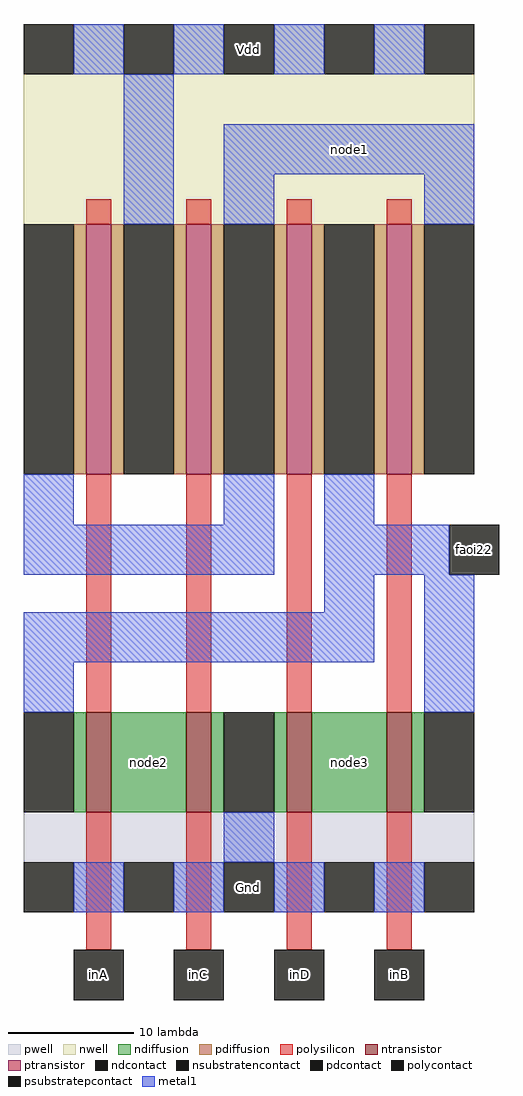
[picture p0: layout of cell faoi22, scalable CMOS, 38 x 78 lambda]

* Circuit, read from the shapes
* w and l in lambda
.subckt faoi22 Gnd Vdd inA inB inC inD node1 node2 node3
M1 node2 inA n1 Gnd nfet w=8 l=2
M2 Gnd inC node2 Gnd nfet w=8 l=2
M3 node3 inD Gnd Gnd nfet w=8 l=2
M4 n1 inB node3 Gnd nfet w=8 l=2
M5 Vdd inA node1 Vdd pfet w=20 l=2
M6 node1 inC Vdd Vdd pfet w=20 l=2
M7 n1 inD node1 Vdd pfet w=20 l=2
M8 node1 inB n1 Vdd pfet w=20 l=2
.ends

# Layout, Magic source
magic
tech scmos
<< pwell >>
rect -12 -43 24 -27
<< nwell >>
rect -12 -8 24 28
<< polysilicon >>
rect -7 12 -5 14
rect 1 12 3 14
rect 9 12 11 14
rect 17 12 19 14
rect -7 -27 -5 -8
rect 1 -27 3 -8
rect 9 -27 11 -8
rect 17 -27 19 -8
rect -7 -46 -5 -35
rect 1 -46 3 -35
rect 9 -46 11 -35
rect 17 -46 19 -35
<< ndiffusion >>
rect -8 -35 -7 -27
rect -5 -35 1 -27
rect 3 -35 4 -27
rect 8 -35 9 -27
rect 11 -35 17 -27
rect 19 -35 20 -27
<< pdiffusion >>
rect -8 -8 -7 12
rect -5 -8 -4 12
rect 0 -8 1 12
rect 3 -8 4 12
rect 8 -8 9 12
rect 11 -8 12 12
rect 16 -8 17 12
rect 19 -8 20 12
<< metal1 >>
rect -8 24 -4 28
rect 0 24 4 28
rect 8 24 12 28
rect 16 24 20 28
rect -4 12 0 24
rect 4 16 24 20
rect 4 12 8 16
rect 20 12 24 16
rect -12 -12 -8 -8
rect 4 -12 8 -8
rect -12 -16 8 -12
rect 12 -12 16 -8
rect 12 -16 22 -12
rect 12 -19 16 -16
rect -12 -23 16 -19
rect -12 -27 -8 -23
rect 20 -27 24 -16
rect 4 -39 8 -35
rect -8 -43 -4 -39
rect 0 -43 4 -39
rect 8 -43 12 -39
rect 16 -43 20 -39
<< ntransistor >>
rect -7 -35 -5 -27
rect 1 -35 3 -27
rect 9 -35 11 -27
rect 17 -35 19 -27
<< ptransistor >>
rect -7 -8 -5 12
rect 1 -8 3 12
rect 9 -8 11 12
rect 17 -8 19 12
<< polycontact >>
rect 22 -16 26 -12
rect -8 -50 -4 -46
rect 0 -50 4 -46
rect 8 -50 12 -46
rect 16 -50 20 -46
<< ndcontact >>
rect -12 -35 -8 -27
rect 4 -35 8 -27
rect 20 -35 24 -27
<< pdcontact >>
rect -12 -8 -8 12
rect -4 -8 0 12
rect 4 -8 8 12
rect 12 -8 16 12
rect 20 -8 24 12
<< psubstratepcontact >>
rect -12 -43 -8 -39
rect -4 -43 0 -39
rect 4 -43 8 -39
rect 12 -43 16 -39
rect 20 -43 24 -39
<< nsubstratencontact >>
rect -12 24 -8 28
rect -4 24 0 28
rect 4 24 8 28
rect 12 24 16 28
rect 20 24 24 28
<< labels >>
rlabel metal1 4 16 24 20 0 node1
rlabel nwell -12 24 24 28 0 Vdd
rlabel polycontact 22 -16 26 -12 0 faoi22
rlabel metal1 -12 -43 24 -39 0 Gnd
rlabel polycontact -8 -50 -4 -46 0 inA
rlabel polycontact 0 -50 4 -46 0 inC
rlabel polycontact 8 -50 12 -46 0 inD
rlabel polycontact 16 -50 20 -46 0 inB
rlabel ndiffusion -5 -35 1 -27 0 node2
rlabel ndiffusion 11 -35 17 -27 0 node3
<< end >>
